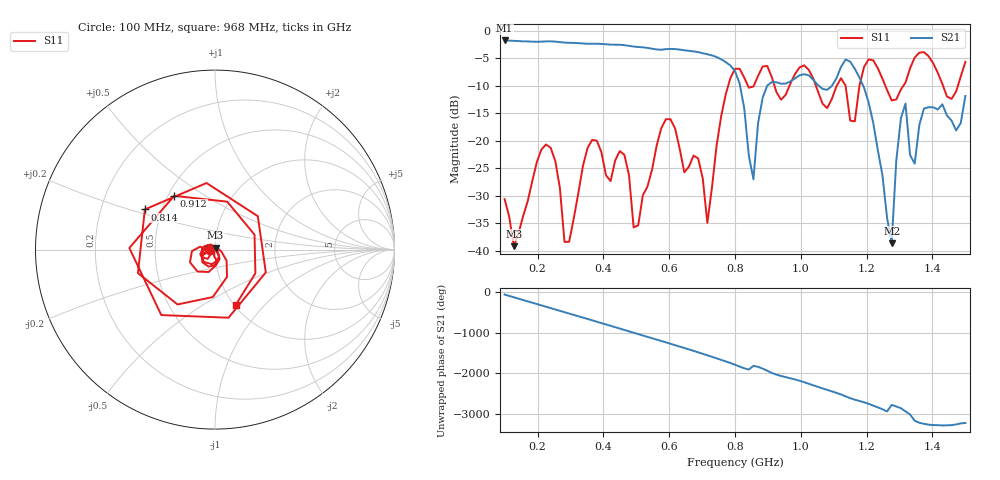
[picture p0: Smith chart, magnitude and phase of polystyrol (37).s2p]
! NanoVNA-App
! Date: 2025-09-26 09:42:10
! Start: 100MHz Stop: 1,5GHz Points: 101
! S-Parameter data: F S11 S21 S12 S22
# Hz S RI R 50
!  Frequency  S11_Real  S11_Imag  S21_Real  S21_Imag  S12_Real  S12_Imag  S22_Real  S22_Imag
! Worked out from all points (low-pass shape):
!   101 points, 100 MHz to 1.5 GHz, reference 50 ohm
!   highest |S21| = -1.79 dB at 100 MHz (marker M1); lowest = -38.6 dB at 1.276 GHz (marker M2)
!   |S21| within 3 dB of the highest: start of sweep to 743.7 MHz
!   lowest |S11| = -39.2 dB at 128 MHz (marker M3), VSWR 1.02, Z = 50.3 + j1.06 ohm
!   |S11| at or under -10 dB: start of sweep to 779.4 MHz; 1.046 GHz to 1.109 GHz (63.83 MHz wide, 5.92 % of centre); 1.257 GHz to 1.312 GHz (55.34 MHz wide, 4.31 % of centre)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
!   S12 and S22 are empty: the file has one direction only
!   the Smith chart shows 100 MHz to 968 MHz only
!   S11 on the Smith chart (normalised r, x): 100 MHz: 0.94, -0.01; 814 MHz: 0.40, +0.23; 912 MHz: 0.54, +0.38; 968 MHz: 1.02, -0.70
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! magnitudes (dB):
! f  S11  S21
! 100 MHz  -30.7  -1.8
! 128 MHz  -39.2  -1.9
! 212 MHz  -21.6  -2.0
! 254 MHz  -23.7  -2.0
! 282 MHz  -38.4  -2.2
! 338 MHz  -24.6  -2.3
! 464 MHz  -22.6  -2.6
! 506 MHz  -35.4  -3.0
! 576 MHz  -17.7  -3.5
! 688 MHz  -23.2  -3.9
! 716 MHz  -35.0  -4.3
! 800 MHz  -7.0  -7.4
! 814 MHz  -6.9  -9.6
! 856 MHz  -10.2  -27.0
! 912 MHz  -8.5  -9.4
! 968 MHz  -9.7  -9.3
! 1.038 GHz  -8.7  -9.0
! 1.178 GHz  -10.1  -8.5
! 1.276 GHz  -12.7  -38.6
! 1.318 GHz  -9.5  -13.3
! 1.346 GHz  -4.9  -24.2
! 1.5 GHz  -5.7  -11.9
